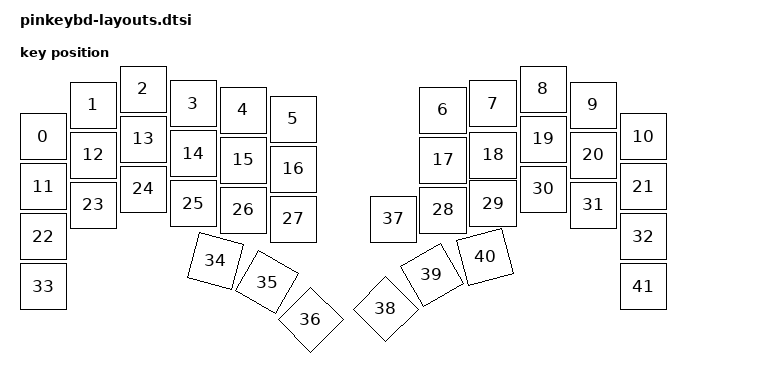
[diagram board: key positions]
#include <physical_layouts.dtsi>

/ {
    default_layout: default_layout {
        compatible = "zmk,physical-layout";
        display-name = "Pinkeybd Layout";
        kscan = <&kscan0>;
        transform = <&default_transform>;

        keys  //                     w   h    x    y     rot    rx    ry
            = <&key_physical_attrs 100 100    0   95       0     0     0>
            , <&key_physical_attrs 100 100  100   32       0     0     0>
            , <&key_physical_attrs 100 100  200    0       0     0     0>
            , <&key_physical_attrs 100 100  300   29       0     0     0>
            , <&key_physical_attrs 100 100  400   42       0     0     0>
            , <&key_physical_attrs 100 100  500   60       0     0     0>
            , <&key_physical_attrs 100 100  800   42       0     0     0>
            , <&key_physical_attrs 100 100  900   29       0     0     0>
            , <&key_physical_attrs 100 100 1000    0       0     0     0>
            , <&key_physical_attrs 100 100 1100   32       0     0     0>
            , <&key_physical_attrs 100 100 1200   95       0     0     0>
            , <&key_physical_attrs 100 100    0  195       0     0     0>
            , <&key_physical_attrs 100 100  100  132       0     0     0>
            , <&key_physical_attrs 100 100  200  100       0     0     0>
            , <&key_physical_attrs 100 100  300  129       0     0     0>
            , <&key_physical_attrs 100 100  400  142       0     0     0>
            , <&key_physical_attrs 100 100  500  160       0     0     0>
            , <&key_physical_attrs 100 100  800  142       0     0     0>
            , <&key_physical_attrs 100 100  900  132       0     0     0>
            , <&key_physical_attrs 100 100 1000  100       0     0     0>
            , <&key_physical_attrs 100 100 1100  132       0     0     0>
            , <&key_physical_attrs 100 100 1200  195       0     0     0>
            , <&key_physical_attrs 100 100    0  295       0     0     0>
            , <&key_physical_attrs 100 100  100  232       0     0     0>
            , <&key_physical_attrs 100 100  200  200       0     0     0>
            , <&key_physical_attrs 100 100  300  229       0     0     0>
            , <&key_physical_attrs 100 100  400  242       0     0     0>
            , <&key_physical_attrs 100 100  500  260       0     0     0>
            , <&key_physical_attrs 100 100  800  242       0     0     0>
            , <&key_physical_attrs 100 100  900  229       0     0     0>
            , <&key_physical_attrs 100 100 1000  200       0     0     0>
            , <&key_physical_attrs 100 100 1100  232       0     0     0>
            , <&key_physical_attrs 100 100 1200  295       0     0     0>
            , <&key_physical_attrs 100 100    0  395       0     0     0>
            , <&key_physical_attrs 100 100  330  355    1500   430   455>
            , <&key_physical_attrs 100 100  430  355    3000   430   455>
            , <&key_physical_attrs 100 100  530  335    4500   430   455>
            , <&key_physical_attrs 100 100  700  260       0     0     0>
            , <&key_physical_attrs 100 100  700  335 (-4500)   870   455>
            , <&key_physical_attrs 100 100  800  355 (-3000)   870   455>
            , <&key_physical_attrs 100 100  900  355 (-1500)   870   455>
            , <&key_physical_attrs 100 100 1200  395       0     0     0>
            ;
    };
};

